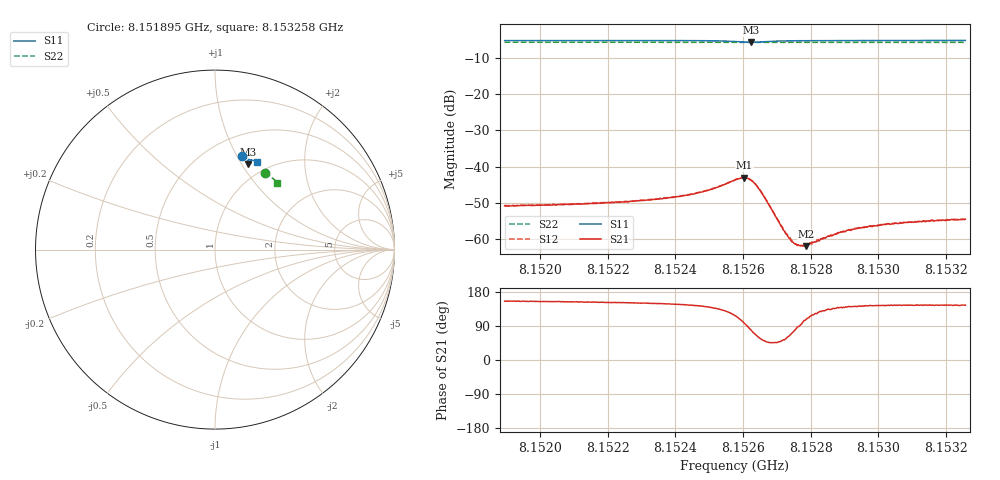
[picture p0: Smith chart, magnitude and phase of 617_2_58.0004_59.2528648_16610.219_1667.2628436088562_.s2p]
#  HZ  S  RI  R  50.00
! Rohde & Schwarz Vector Network Analyzer
! Rohde-Schwarz,ZNB20-2Port,1311601062101988,3.16
! Created: UTC 3/21/2024, 1:17:58 AM
! freq[Hz]  re:S11  im:S11  re:S21  im:S21  re:S12  im:S12  re:S22  im:S22
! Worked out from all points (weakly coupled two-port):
!   401 points, 8.151895 GHz to 8.153258 GHz, reference 50 ohm
!   highest |S21| = -43.05 dB at 8.152603 GHz (marker M1); lowest = -61.8 dB at 8.152787 GHz (marker M2)
!   lowest |S11| = -5.8 dB at 8.152624 GHz (marker M3), VSWR 3.09, Z = 41.5 + j53.5 ohm
!   |S11| at or under -10 dB: nowhere
!   |S22| runs from -5.9 to -5.8 dB; largest |S21 - S12| = 0.00013
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8.1518948e9  0.1503 0.5191  -0.00263 0.00122  -0.00264 0.00125  0.281 0.4281
8.1521231e9  0.1666 0.5143  -0.00274 0.00139  -0.00275 0.00145  0.293 0.4198
8.1522662e9  0.1772 0.5106  -0.00291 0.00163  -0.00293 0.0017  0.3002 0.4143
8.1523513e9  0.1838 0.508  -0.0031 0.00184  -0.00307 0.00192  0.3047 0.4109
8.1524263e9  0.1902 0.5049  -0.00332 0.00224  -0.00329 0.00232  0.3084 0.4078
8.1524774e9  0.1952 0.5015  -0.00355 0.00274  -0.00353 0.00282  0.3111 0.4057
8.1525251e9  0.2001 0.4962  -0.00373 0.00368  -0.00369 0.00377  0.3133 0.4037
8.1525762e9  0.2021 0.4842  -0.00301 0.00584  -0.00294 0.0059  0.3157 0.4012
8.1526034e9  0.1951 0.4761  -0.000968 0.00697  -0.000906 0.00704  0.3166 0.4
8.1526239e9  0.1851 0.4762  0.0013 0.00638  0.00135 0.00643  0.3172 0.3994
8.1526375e9  0.1801 0.4808  0.00225 0.00521  0.00234 0.00524  0.3177 0.3991
8.1526546e9  0.1783 0.4878  0.00257 0.0036  0.00261 0.00361  0.3186 0.3988
8.1527193e9  0.1883 0.5001  0.0008 0.00108  0.000856 0.00107  0.3222 0.3965
8.1527397e9  0.1915 0.5008  0.0004 0.000929  0.000449 0.000936  0.3232 0.3957
8.1527568e9  0.1939 0.5011  0.000119 0.000848  0.000131 0.000864  0.3242 0.3949
8.1527738e9  0.1961 0.5011  -8.44e-05 0.000826  -7.78e-05 0.000813  0.3248 0.3942
8.1527874e9  0.1976 0.501  -0.000248 0.00077  -0.000237 0.000814  0.3257 0.3936
8.1528045e9  0.1995 0.5007  -0.000446 0.00081  -0.000437 0.000754  0.3265 0.393
8.1528522e9  0.2043 0.4998  -0.000783 0.000792  -0.000738 0.000835  0.3288 0.3909
8.1529135e9  0.2096 0.4984  -0.00106 0.000843  -0.00104 0.000887  0.3319 0.3884
8.1530327e9  0.2188 0.4951  -0.00133 0.000976  -0.00131 0.000985  0.3374 0.3833
8.1532576e9  0.2342 0.489  -0.00155 0.0011  -0.00153 0.00115  0.348 0.3735
